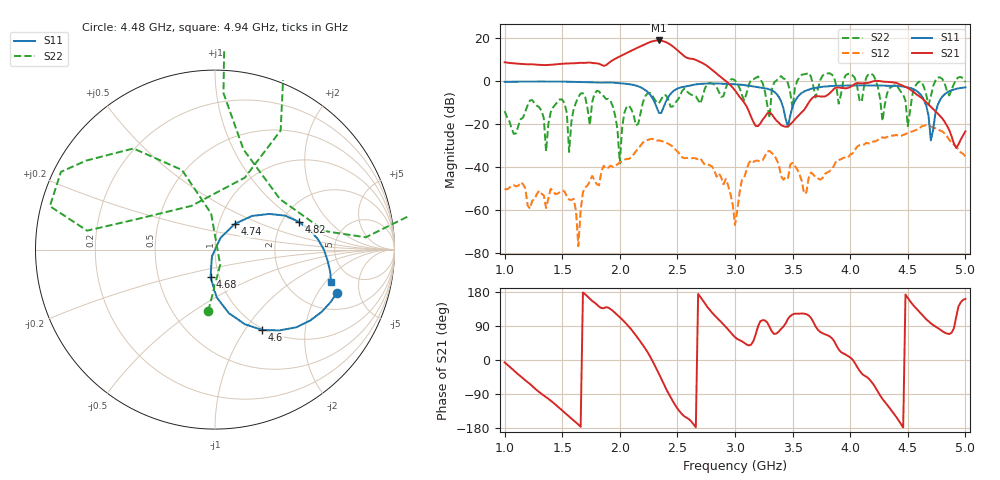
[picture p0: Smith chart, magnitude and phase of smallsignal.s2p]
!Agilent Technologies,E8364B,MY43040217,A.06.04.32
!Agilent E8364B: A.06.04.32
!Date: Wednesday, November 16, 2022 08:30:59
!Correction: S11(Full 2 Port(1,2)) S21(Full 2 Port(1,2)) S12(Full 2 Port(1,2)) S22(Full 2 Port(1,2))
!S2P File: Measurements: S11, S21, S12, S22:
# Hz S  dB  R 50
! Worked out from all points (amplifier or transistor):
!   201 points, 1 GHz to 5 GHz, reference 50 ohm
!   highest |S21| = 18.8 dB at 2.34 GHz (marker M1)
!   |S21| within 3 dB of that: 2.169 GHz to 2.466 GHz (297 MHz wide, 12.8 % of centre)
!   unconditionally stable (mu >= 1): start of sweep to 2.952 GHz; 3.003 GHz to 3.135 GHz; 4.232 GHz to 4.738 GHz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
!   at 1.66 GHz: K = 16.29, MAG = 19.2 dB, |S12| = -60.3 dB
!   at 3 GHz: K = -29.40, MSG = 31.3 dB, |S12| = -67.0 dB
!   at 5 GHz: K = 24.24, MAG = -11.0 dB, |S12| = -35.1 dB
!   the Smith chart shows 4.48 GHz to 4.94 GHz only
!   S11 on the Smith chart (normalised r, x): 4.48 GHz: 3.00, -3.01; 4.6 GHz: 0.98, -1.20; 4.68 GHz: 0.91, -0.29; 4.74 GHz: 1.19, +0.35; 4.82 GHz: 2.45, +1.00; 4.94 GHz: 3.49, -2.30
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1e9  -0.41 -165.6  8.66 -6.2  -50.14 -58.3  -14.02 8.4
1.32e9  -0.31 143.9  7.40 -89.3  -52.37 -82.1  -13.84 95.5
1.68e9  -0.55 88.9  8.37 178.2  -51.78 128.9  -5.73 -38.5
2e9  -1.09 37.1  11.36 112.8  -37.72 40.3  -38.33 74.4
2.16e9  -2.50 3.0  15.58 56.6  -31.48 18.7  -20.00 177.3
2.28e9  -7.66 -25.4  18.35 -0.4  -26.92 -25.4  -6.54 115.5
2.34e9  -14.88 -6.8  18.80 -36.8  -27.67 -59.3  -10.37 44.4
2.4e9  -9.61 43.4  18.02 -74.7  -28.76 -93.7  -6.66 3.3
2.5e9  -3.57 20.5  14.26 -127.9  -32.82 -137.2  -8.98 -122.8
2.74e9  -1.28 -34.0  7.60 148.5  -39.09 140.4  -3.32 131.0
3e9  -1.56 -92.5  -4.40 60.3  -66.95 100.2  0.23 84.4
3.14e9  -2.42 -129.3  -16.77 40.7  -36.84 -172.8  0.47 23.1
3.68e9  -3.42 165.6  -7.57 100.5  -43.56 36.7  -2.58 16.1
4e9  -2.12 80.1  -2.83 6.6  -34.26 22.9  3.39 -94.3
4.34e9  -2.29 12.3  -0.54 -125.8  -25.53 -92.4  -3.46 107.5
4.48e9  -2.83 -19.4  -2.77 172.6  -24.72 -161.5  -9.25 -96.3
4.6e9  -5.69 -59.5  -7.15 127.1  -22.03 127.6  -0.34 153.2
4.68e9  -16.12 -99.2  -10.97 102.2  -20.71 61.3  -11.16 118.3
4.74e9  -14.88 52.4  -14.09 88.2  -21.98 14.2  0.15 68.1
4.82e9  -6.18 18.5  -18.99 72.2  -24.42 -35.7  -1.18 86.9
4.94e9  -3.45 -15.6  -29.49 141.3  -32.02 -91.8  1.67 18.9
5e9  -3.00 -28.7  -23.44 161.1  -35.09 -107.4  -0.54 30.0
